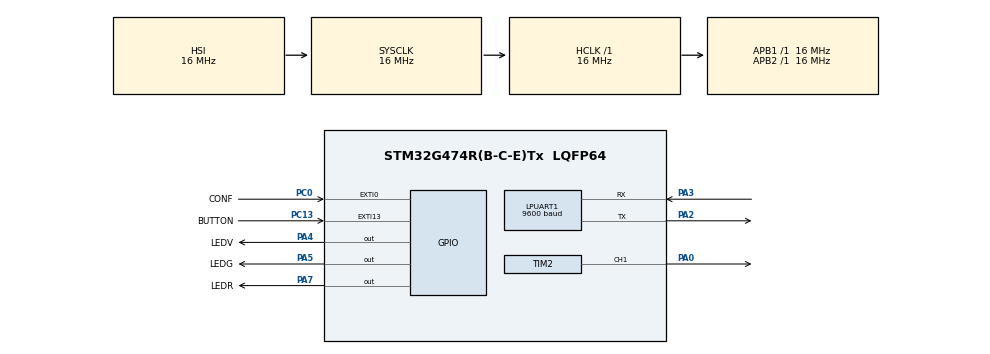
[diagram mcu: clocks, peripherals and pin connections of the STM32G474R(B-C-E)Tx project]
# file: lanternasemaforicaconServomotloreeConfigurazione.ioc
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LPUART1.BaudRate=9600
Mcu.Family=STM32G4
Mcu.Name=STM32G474R(B-C-E)Tx
Mcu.Package=LQFP64
NVIC.EXTI0_IRQn=true\:0\:0\:false\:false\:true\:true\:true\:true
NVIC.EXTI15_10_IRQn=true\:0\:0\:false\:false\:true\:true\:true\:true
NVIC.LPUART1_IRQn=true\:0\:0\:false\:false\:true\:true\:true\:true
NVIC.PriorityGroup=NVIC_PRIORITYGROUP_4
NVIC.TIM2_IRQn=true\:0\:0\:false\:false\:true\:true\:true\:true
NVIC.TIM6_DAC_IRQn=true\:0\:0\:false\:false\:true\:true\:true\:true
PA0.Signal=S_TIM2_CH1
PA2.Mode=Asynchronous
PA2.Signal=LPUART1_TX
PA3.Mode=Asynchronous
PA3.Signal=LPUART1_RX
PA4.GPIO_Label=LEDV
PA4.Signal=GPIO_Output
PA5.GPIO_Label=LEDG
PA5.Signal=GPIO_Output
PA7.GPIO_Label=LEDR
PA7.Signal=GPIO_Output
PC0.GPIO_Label=CONF
PC0.GPIO_ModeDefaultEXTI=GPIO_MODE_IT_FALLING
PC0.Signal=GPXTI0
PC13.GPIO_Label=BUTTON
PC13.GPIO_ModeDefaultEXTI=GPIO_MODE_IT_FALLING
PC13.GPIO_PuPd=GPIO_PULLUP
PC13.Signal=GPXTI13
ProjectManager.HeapSize=0x200
ProjectManager.StackSize=0x400
ProjectManager.TargetToolchain=STM32CubeIDE
RCC.AHBFreq_Value=16000000
RCC.APB1Freq_Value=16000000
RCC.APB1TimFreq_Value=16000000
RCC.APB2Freq_Value=16000000
RCC.APB2TimFreq_Value=16000000
RCC.CortexFreq_Value=16000000
RCC.EXTERNAL_CLOCK_VALUE=12288000
RCC.HCLKFreq_Value=16000000
RCC.HSE_VALUE=8000000
RCC.HSI48_VALUE=48000000
RCC.HSI_VALUE=16000000
RCC.LSE_VALUE=32768
RCC.SYSCLKFreq_VALUE=16000000
RCC.USBFreq_Value=64000000
RCC.VCOOutputFreq_Value=128000000
SH.S_TIM2_CH1.0=TIM2_CH1,PWM Generation1 CH1
TIM2.Channel-PWM\ Generation1\ CH1=TIM_CHANNEL_1
TIM2.PeriodNoDither=999
TIM2.Prescaler=319
TIM2.PulseNoDither_1=50
TIM6.PeriodNoDither=4999
TIM6.Prescaler=15999
VP_SYS_VS_DBSignals.Mode=DisableDeadBatterySignals
VP_TIM2_VS_ClockSourceINT.Mode=Internal
VP_TIM6_VS_ClockSourceINT.Mode=Enable_Timer
board=custom

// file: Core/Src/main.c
/* USER CODE BEGIN Header */
/**
  ******************************************************************************
  * @file           : main.c
  * @brief          : Main program body
  ******************************************************************************
  * @attention
  *
  * Copyright (c) 2026 STMicroelectronics.
  * All rights reserved.
  *
  * This software is licensed under terms that can be found in the LICENSE file
  * in the root directory of this software component.
  * If no LICENSE file comes with this software, it is provided AS-IS.
  *
  ******************************************************************************
  */
/* USER CODE END Header */
#include "main.h"
#include "usart.h"
#include "tim.h"
#include "gpio.h"

/* USER CODE BEGIN Includes */
#include "fsm_logic.h"

/* USER CODE END Includes */

/* USER CODE BEGIN PD */
#define CLOCK_FREQUENCY (16000000)

/* USER CODE END PD */

/* USER CODE BEGIN PV */
timer_t servo_timer;
led_t led_rosso;
led_t led_giallo;
led_t led_verde;
button_t button;
button_t button_config;
timer_t timer;

/* USER CODE END PV */

void SystemClock_Config(void);

int main(void)
{

  /* MCU Configuration--------------------------------------------------------*/

  /* Reset of all peripherals, Initializes the Flash interface and the Systick. */
  HAL_Init();

  /* Configure the system clock */
  SystemClock_Config();

  /* Initialize all configured peripherals */
  MX_GPIO_Init();
  MX_LPUART1_UART_Init();
  MX_TIM2_Init();
  MX_TIM6_Init();
  /* USER CODE BEGIN 2 */
  if(led_init(&led_rosso, LEDR_GPIO_Port, LEDR_Pin, LED_INIT_STATE_OFF)!=LED_OK){
    return -1;
  }
  if(led_init(&led_giallo, LEDG_GPIO_Port, LEDG_Pin, LED_INIT_STATE_OFF)!=LED_OK){
    return -1;
  }
  if(led_init(&led_verde, LEDV_GPIO_Port, LEDV_Pin, LED_INIT_STATE_OFF)!=LED_OK){
    return -1;
  }
  if(button_init(&button, BUTTON_GPIO_Port, BUTTON_Pin, RELEASED)!=BUTTON_OK){
    return -1;
  }
  if(button_init(&button_config, CONF_GPIO_Port, CONF_Pin, RELEASED)!=BUTTON_OK){
    return -1;
  }
  if(timer_init(&timer, &htim6, CLOCK_FREQUENCY)!=TIMER_OK){
    return -1;
  }
  if(timer_init(&servo_timer, &htim2, CLOCK_FREQUENCY)!=TIMER_OK){
    return -1;
  }
  if(timer_start_pwm(&servo_timer, TIM_CHANNEL_1)!=TIMER_OK){
    return -1;
  }

  //dopo aver inizializzato tutti i componenti, inizializzo la FSM
  if(FSM_init(&led_rosso, &led_giallo, &led_verde, &button, &button_config, &timer, &servo_timer , FSM_CYCLE_DURATION)!=FSM_OK){
    return -1;
  }

  /* USER CODE END 2 */

  /* Infinite loop */
  /* USER CODE BEGIN WHILE */
  while (1)
  {
    if(FSM_step()!=FSM_OK){
      return -1;
    }
    /* USER CODE END WHILE */

  }
}

void SystemClock_Config(void)
{
  RCC_OscInitTypeDef RCC_OscInitStruct = {0};
  RCC_ClkInitTypeDef RCC_ClkInitStruct = {0};

  /** Configure the main internal regulator output voltage
  */
  HAL_PWREx_ControlVoltageScaling(PWR_REGULATOR_VOLTAGE_SCALE1);

  /** Initializes the RCC Oscillators according to the specified parameters
  * in the RCC_OscInitTypeDef structure.
  */
  RCC_OscInitStruct.OscillatorType = RCC_OSCILLATORTYPE_HSI;
  RCC_OscInitStruct.HSIState = RCC_HSI_ON;
  RCC_OscInitStruct.HSICalibrationValue = RCC_HSICALIBRATION_DEFAULT;
  RCC_OscInitStruct.PLL.PLLState = RCC_PLL_NONE;
  if (HAL_RCC_OscConfig(&RCC_OscInitStruct) != HAL_OK)
  {
    Error_Handler();
  }

  /** Initializes the CPU, AHB and APB buses clocks
  */
  RCC_ClkInitStruct.ClockType = RCC_CLOCKTYPE_HCLK|RCC_CLOCKTYPE_SYSCLK
                              |RCC_CLOCKTYPE_PCLK1|RCC_CLOCKTYPE_PCLK2;
  RCC_ClkInitStruct.SYSCLKSource = RCC_SYSCLKSOURCE_HSI;
  RCC_ClkInitStruct.AHBCLKDivider = RCC_SYSCLK_DIV1;
  RCC_ClkInitStruct.APB1CLKDivider = RCC_HCLK_DIV1;
  RCC_ClkInitStruct.APB2CLKDivider = RCC_HCLK_DIV1;

  if (HAL_RCC_ClockConfig(&RCC_ClkInitStruct, FLASH_LATENCY_0) != HAL_OK)
  {
    Error_Handler();
  }
}

void Error_Handler(void)
{
  __disable_irq();
  while (1)
  {
  }
}
